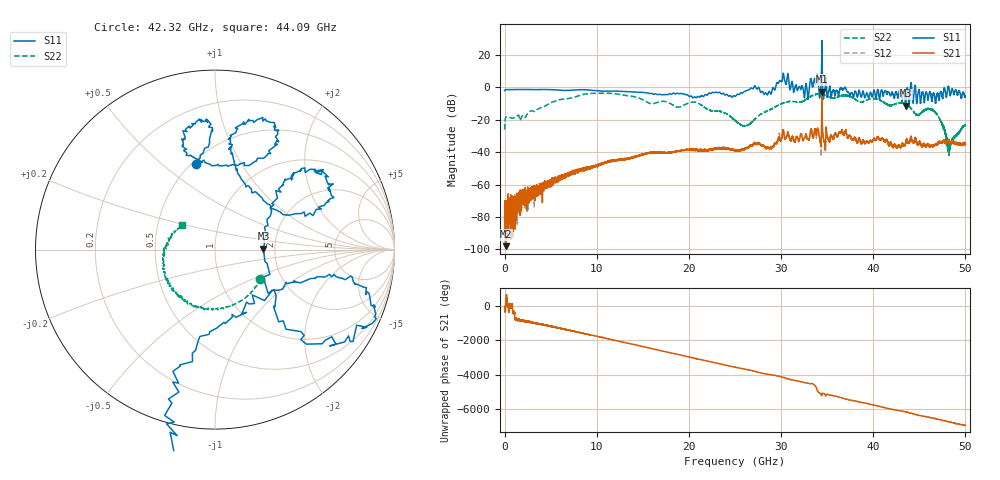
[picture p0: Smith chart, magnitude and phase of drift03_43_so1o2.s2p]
!Created with skrf (http://scikit-rf.org).
# Hz S RI R 50.0
!freq ReS11 ImS11 ReS21 ImS21 ReS12 ImS12 ReS22 ImS22
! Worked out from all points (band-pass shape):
!   10000 points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, 5.3 MHz to 50 GHz, reference 50 ohm
!   highest |S21| = -2.62 dB at 34.43 GHz (marker M1); lowest = -98.0 dB at 115.3 MHz (marker M2)
!   |S21| within 3 dB of the highest: 34.42756 GHz to 34.43453 GHz (6.971 MHz wide, 0.0202 % of centre)
!   lowest |S11| = -11.4 dB at 43.52 GHz (marker M3), VSWR 1.74, Z = 87 + j1.08 ohm
!   |S11| at or under -10 dB: 43.49187 GHz to 43.54077 GHz (48.9 MHz wide, 0.112 % of centre); 43.54922 GHz to 43.55086 GHz (1.633 MHz wide, 0.00375 % of centre); 44.70956 GHz to 44.71036 GHz (796 kHz wide, 0.00178 % of centre)
!   |S22| runs from -42.0 to -3.6 dB; largest |S21 - S12| = 0.24
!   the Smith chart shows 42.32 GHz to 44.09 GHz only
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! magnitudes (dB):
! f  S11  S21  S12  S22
! 5.3 MHz  -2.1  -79.5  -82.7  -26.1
! 115.3 MHz  -1.5  -98.0  -81.3  -18.7
! 1.805 GHz  -1.3  -65.4  -67.9  -18.9
! 8.34 GHz  -1.5  -51.6  -50.8  -4.7
! 16.67 GHz  -4.4  -40.3  -40.2  -9.2
! 20.74 GHz  -6.3  -38.6  -38.7  -9.3
! 25.01 GHz  -5.5  -38.6  -38.8  -20.4
! 26.23 GHz  -2.2  -37.4  -37.5  -23.7
! 27.38 GHz  -1.2  -35.1  -35.0  -18.4
! 28.72 GHz  -2.5  -37.4  -37.7  -14.0
! 30.14 GHz  4.4  -29.5  -29.5  -9.9
! 32.74 GHz  2.0  -29.4  -29.2  -7.4
! 33.34 GHz  2.6  -27.5  -27.9  -5.3
! 33.82 GHz  4.0  -29.2  -29.4  -4.2
! 34.43 GHz  28.9  -2.6  -4.6  -4.0
! 36.49 GHz  -0.3  -27.9  -27.9  -5.3
! 41.67 GHz  -3.0  -35.4  -35.5  -10.9
! 43.52 GHz  -11.4  -34.2  -34.4  -10.2
! 44.74 GHz  -9.1  -34.6  -34.7  -17.1
! 46.66 GHz  -5.4  -35.8  -35.8  -15.2
! 48.24 GHz  -1.3  -33.1  -33.4  -37.7
! 50 GHz  -5.3  -35.0  -34.9  -23.5
